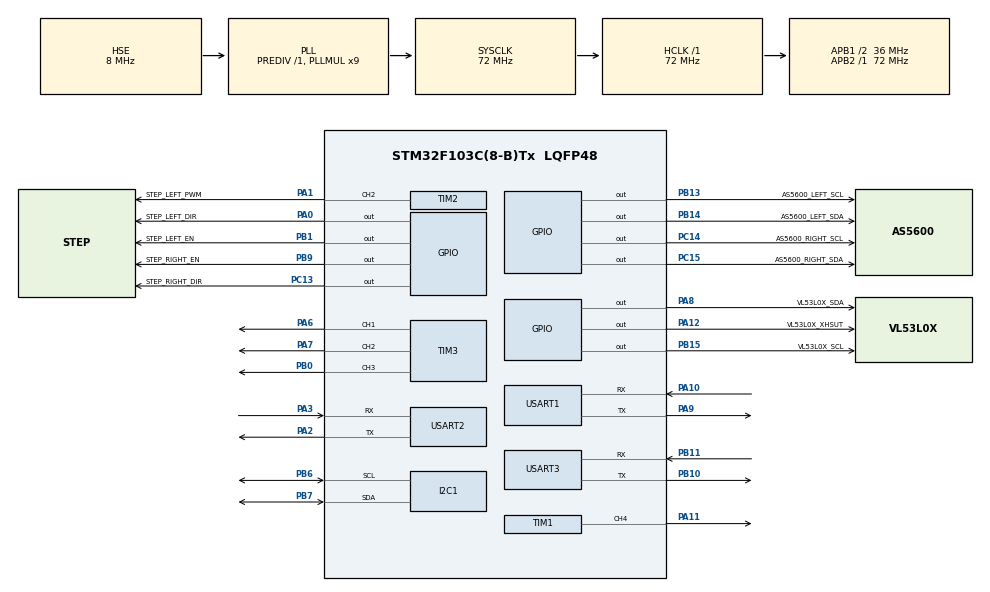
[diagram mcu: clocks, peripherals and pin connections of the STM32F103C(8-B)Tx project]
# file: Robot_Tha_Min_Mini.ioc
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Dma.Request0=USART3_TX
Dma.USART3_TX.0.Direction=DMA_MEMORY_TO_PERIPH
Dma.USART3_TX.0.Instance=DMA1_Channel2
Dma.USART3_TX.0.MemDataAlignment=DMA_MDATAALIGN_BYTE
Dma.USART3_TX.0.MemInc=DMA_MINC_ENABLE
Dma.USART3_TX.0.Mode=DMA_NORMAL
Dma.USART3_TX.0.PeriphDataAlignment=DMA_PDATAALIGN_BYTE
Dma.USART3_TX.0.PeriphInc=DMA_PINC_DISABLE
Dma.USART3_TX.0.Priority=DMA_PRIORITY_LOW
Mcu.Family=STM32F1
Mcu.Name=STM32F103C(8-B)Tx
Mcu.Package=LQFP48
NVIC.DMA1_Channel2_IRQn=true\:2\:0\:true\:false\:true\:false\:true\:true
NVIC.PriorityGroup=NVIC_PRIORITYGROUP_4
NVIC.TIM4_IRQn=true\:3\:0\:true\:false\:true\:true\:true\:true
NVIC.USART3_IRQn=true\:1\:0\:true\:false\:true\:true\:true\:true
PA0-WKUP.GPIO_Label=STEP_LEFT_DIR
PA0-WKUP.Signal=GPIO_Output
PA1.GPIO_Label=STEP_LEFT_PWM
PA1.Signal=S_TIM2_CH2
PA10.Mode=Asynchronous
PA10.Signal=USART1_RX
PA11.Signal=S_TIM1_CH4
PA12.GPIO_Label=VL53L0X_XHSUT
PA12.Signal=GPIO_Output
PA13.Mode=Serial_Wire
PA13.Signal=SYS_JTMS-SWDIO
PA14.Mode=Serial_Wire
PA14.Signal=SYS_JTCK-SWCLK
PA2.Mode=Asynchronous
PA2.Signal=USART2_TX
PA3.Mode=Asynchronous
PA3.Signal=USART2_RX
PA6.Signal=S_TIM3_CH1
PA7.Signal=S_TIM3_CH2
PA8.GPIO_Label=VL53L0X_SDA
PA8.GPIO_ModeDefaultOutputPP=GPIO_MODE_OUTPUT_OD
PA8.GPIO_PuPd=GPIO_PULLUP
PA8.GPIO_Speed=GPIO_SPEED_FREQ_HIGH
PA8.PinState=GPIO_PIN_RESET
PA8.Signal=GPIO_Output
PA9.Mode=Asynchronous
PA9.Signal=USART1_TX
PB0.Signal=S_TIM3_CH3
PB1.GPIO_Label=STEP_LEFT_EN
PB1.Signal=GPIO_Output
PB10.Mode=Asynchronous
PB10.Signal=USART3_TX
PB11.Mode=Asynchronous
PB11.Signal=USART3_RX
PB13.GPIO_Label=AS5600_LEFT_SCL
PB13.GPIO_ModeDefaultOutputPP=GPIO_MODE_OUTPUT_OD
PB13.GPIO_PuPd=GPIO_PULLUP
PB13.GPIO_Speed=GPIO_SPEED_FREQ_HIGH
PB13.PinState=GPIO_PIN_RESET
PB13.Signal=GPIO_Output
PB14.GPIO_Label=AS5600_LEFT_SDA
PB14.GPIO_ModeDefaultOutputPP=GPIO_MODE_OUTPUT_OD
PB14.GPIO_PuPd=GPIO_PULLUP
PB14.GPIO_Speed=GPIO_SPEED_FREQ_HIGH
PB14.PinState=GPIO_PIN_RESET
PB14.Signal=GPIO_Output
PB15.GPIO_Label=VL53L0X_SCL
PB15.GPIO_ModeDefaultOutputPP=GPIO_MODE_OUTPUT_OD
PB15.GPIO_PuPd=GPIO_PULLUP
PB15.GPIO_Speed=GPIO_SPEED_FREQ_HIGH
PB15.PinState=GPIO_PIN_RESET
PB15.Signal=GPIO_Output
PB6.Mode=I2C
PB6.Signal=I2C1_SCL
PB7.Mode=I2C
PB7.Signal=I2C1_SDA
PB9.GPIO_Label=STEP_RIGHT_EN
PB9.Signal=GPIO_Output
PC13-TAMPER-RTC.GPIO_Label=STEP_RIGHT_DIR
PC13-TAMPER-RTC.Signal=GPIO_Output
PC14-OSC32_IN.GPIO_Label=AS5600_RIGHT_SCL
PC14-OSC32_IN.GPIO_ModeDefaultOutputPP=GPIO_MODE_OUTPUT_OD
PC14-OSC32_IN.GPIO_PuPd=GPIO_PULLUP
PC14-OSC32_IN.GPIO_Speed=GPIO_SPEED_FREQ_HIGH
PC14-OSC32_IN.PinState=GPIO_PIN_RESET
PC14-OSC32_IN.Signal=GPIO_Output
PC15-OSC32_OUT.GPIO_Label=AS5600_RIGHT_SDA
PC15-OSC32_OUT.GPIO_ModeDefaultOutputPP=GPIO_MODE_OUTPUT_OD
PC15-OSC32_OUT.GPIO_PuPd=GPIO_PULLUP
PC15-OSC32_OUT.GPIO_Speed=GPIO_SPEED_FREQ_HIGH
PC15-OSC32_OUT.PinState=GPIO_PIN_RESET
PC15-OSC32_OUT.Signal=GPIO_Output
PD0-OSC_IN.Mode=HSE-External-Oscillator
PD0-OSC_IN.Signal=RCC_OSC_IN
PD1-OSC_OUT.Mode=HSE-External-Oscillator
PD1-OSC_OUT.Signal=RCC_OSC_OUT
ProjectManager.HeapSize=0x200
ProjectManager.StackSize=0x400
ProjectManager.TargetToolchain=MDK-ARM V5.32
RCC.ADCPresc=RCC_ADCPCLK2_DIV6
RCC.AHBFreq_Value=72000000
RCC.APB1CLKDivider=RCC_HCLK_DIV2
RCC.APB1Freq_Value=36000000
RCC.APB1TimFreq_Value=72000000
RCC.APB2Freq_Value=72000000
RCC.APB2TimFreq_Value=72000000
RCC.HCLKFreq_Value=72000000
RCC.PLLMUL=RCC_PLL_MUL9
RCC.PLLSourceVirtual=RCC_PLLSOURCE_HSE
RCC.SYSCLKFreq_VALUE=72000000
RCC.SYSCLKSource=RCC_SYSCLKSOURCE_PLLCLK
RCC.USBFreq_Value=72000000
SH.S_TIM1_CH4.0=TIM1_CH4,PWM Generation4 CH4
SH.S_TIM2_CH2.0=TIM2_CH2,PWM Generation2 CH2
SH.S_TIM3_CH1.0=TIM3_CH1,PWM Generation1 CH1
SH.S_TIM3_CH2.0=TIM3_CH2,PWM Generation2 CH2
SH.S_TIM3_CH3.0=TIM3_CH3,PWM Generation3 CH3
TIM1.AutoReloadPreload=TIM_AUTORELOAD_PRELOAD_ENABLE
TIM1.Channel-PWM\ Generation4\ CH4=TIM_CHANNEL_4
TIM1.Period=65535
TIM1.Prescaler=0
TIM2.AutoReloadPreload=TIM_AUTORELOAD_PRELOAD_ENABLE
TIM2.Channel-PWM\ Generation2\ CH2=TIM_CHANNEL_2
TIM3.Channel-PWM\ Generation1\ CH1=TIM_CHANNEL_1
TIM3.Channel-PWM\ Generation2\ CH2=TIM_CHANNEL_2
TIM3.Channel-PWM\ Generation3\ CH3=TIM_CHANNEL_3
TIM4.Period=499
TIM4.Prescaler=7199
USART1.VirtualMode=VM_ASYNC
USART2.VirtualMode=VM_ASYNC
USART3.VirtualMode=VM_ASYNC
VP_TIM4_VS_ClockSourceINT.Mode=Internal
board=custom

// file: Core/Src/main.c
/* USER CODE BEGIN Header */
/**
  ******************************************************************************
  * @file           : main.c
  * @brief          : Main program body
  ******************************************************************************
  * @attention
  *
  * Copyright (c) 2026 STMicroelectronics.
  * All rights reserved.
  *
  * This software is licensed under terms that can be found in the LICENSE file
  * in the root directory of this software component.
  * If no LICENSE file comes with this software, it is provided AS-IS.
  *
  ******************************************************************************
  */
/* USER CODE END Header */
#include "main.h"

/* USER CODE BEGIN Includes */
#include "distance_sensor.h"
#include "imu.h"
#include "robot.h"
#include "uart.h"
#include <stdarg.h>
#include <stdio.h>
#include <string.h>
#include "Servo.h"
#include "mpu6050.h"
/* USER CODE END Includes */

/* USER CODE BEGIN PD */
#define BUFFER_MESSAGE_SIZE 256
#define SIZE_MINE 3.6
#define NUM_MAX_MINE 4
/* USER CODE END PD */

I2C_HandleTypeDef hi2c1;

TIM_HandleTypeDef htim1;
TIM_HandleTypeDef htim2;
TIM_HandleTypeDef htim3;
TIM_HandleTypeDef htim4;

UART_HandleTypeDef huart1;
UART_HandleTypeDef huart2;
UART_HandleTypeDef huart3;
DMA_HandleTypeDef hdma_usart3_tx;

/* USER CODE BEGIN PV */
VL53L0X_TypeDef sensor;
Soft_I2C_TypeDef i2c;
IMU_Typedef bno055;
Robot_Typedef robot;
Servo_TypeDef servo_land_mine;
Servo_TypeDef servo_tank_mine_push;
Servo_TypeDef servo_tank_mine_left_door;
Servo_TypeDef servo_tank_mine_right_door;
MPU6050_t mpu;
/* USER CODE END PV */

void SystemClock_Config(void);
static void MX_GPIO_Init(void);
static void MX_DMA_Init(void);
static void MX_I2C1_Init(void);
static void MX_TIM2_Init(void);
static void MX_TIM3_Init(void);
static void MX_USART1_UART_Init(void);
static void MX_USART2_UART_Init(void);
static void MX_USART3_UART_Init(void);
static void MX_TIM4_Init(void);
static void MX_TIM1_Init(void);

/* USER CODE BEGIN 0 */
uint8_t error = 0;
float distance = 0;
uint8_t num_mine = 0;
uint8_t data_rx = 0;
uint8_t flag_mine_laying = 0;
Mine_Type type = LAND_MINE;

char buffer[BUFFER_MESSAGE_SIZE];

HAL_StatusTypeDef transmit(const char *format, ...){
	va_list args;
	va_start(args, format);
	vsnprintf(buffer, BUFFER_MESSAGE_SIZE, format, args);
	va_end(args);
	return HAL_UART_Transmit_DMA(&huart3, (uint8_t *)buffer, strlen(buffer));
}

void HAL_TIM_PeriodElapsedCallback(TIM_HandleTypeDef* htim){
	if(htim->Instance == htim4.Instance){
		robot.motorLeft->velocity = 0;
		robot.motorRight->velocity = 0;
		transmit("%.2f %.2f %.2f %d\n", robot.motorLeft->velocity, robot.motorRight->velocity, 0.0f, num_mine);
	}
}

void HAL_UART_RxCpltCallback(UART_HandleTypeDef* huart){
	if(huart->Instance == huart3.Instance){
		uart_receive_data(data_rx);
		uart_handle(&robot, &flag_mine_laying, &type);
		HAL_UART_Receive_IT(huart, &data_rx, 1);
	}
}

/* USER CODE END 0 */

int main(void)
{

  /* MCU Configuration--------------------------------------------------------*/

  /* Reset of all peripherals, Initializes the Flash interface and the Systick. */
  HAL_Init();

  /* Configure the system clock */
  SystemClock_Config();

  /* Initialize all configured peripherals */
  MX_GPIO_Init();
  MX_DMA_Init();
  MX_I2C1_Init();
  MX_TIM2_Init();
  MX_TIM3_Init();
  MX_USART1_UART_Init();
  MX_USART2_UART_Init();
  MX_USART3_UART_Init();
  MX_TIM4_Init();
  MX_TIM1_Init();
  /* USER CODE BEGIN 2 */
	if(Robot_Init(&robot, &huart2, &htim2, TIM_CHANNEL_2, &huart3, &htim1, TIM_CHANNEL_4) != HAL_OK){
		transmit("Robot Init Fail");
		error = 5;
		Error_Handler();
	}

//	if(MPU6050_Init(&mpu, &hi2c1) != MPU6050_OK){
//		error = 1;
//		transmit("IMU Init Fail");
//		Error_Handler();
//	}
//
//	if(MPU6050_Read_All_Fast(&mpu) != MPU6050_OK){
//		error = 2;
//		transmit("IMU Get Data Fail");
//		Error_Handler();
//	}
//
//	if(IMU_Init(&bno055, &hi2c1, IMU_ADDRESS) != IMU_OK){
//		transmit("IMU Init Fail!!");
//		error = 1;
//		Error_Handler();
//	}
//
//	if(IMU_CheckCalib(&bno055) != CALIB_OK){
//		transmit("IMU Check Calib Fail!!!");
//		error = 2;
//		Error_Handler();
//	}
//
//	if(IMU_GetDataRaw(&bno055) != IMU_OK){
//		transmit("IMU Check Get Data Fail!!!");
//		error = 3;
//		Error_Handler();
//	}

	i2c_soft_init(&i2c, VL53L0X_SCL_GPIO_Port, VL53L0X_SCL_Pin, VL53L0X_SDA_GPIO_Port, VL53L0X_SDA_Pin);
	if(!vl53l0x_init(&sensor, &i2c, VL53L0X_XHSUT_GPIO_Port, VL53L0X_XHSUT_Pin, RIGHT, -40)){
		transmit("Distance Sensor Init Fail!!");
		error = 4;
		Error_Handler();
	}

	Servo_Init(&servo_tank_mine_push, &htim3, TIM_CHANNEL_1, IDLE_POSITION_ANGLE_TYPE_TANK_MINE);
	Servo_Init(&servo_tank_mine_left_door, &htim3, TIM_CHANNEL_2, CLOSE_DOOR_POSITION_ANGLE_TYPE_TANK_MINE);
	Servo_Init(&servo_tank_mine_right_door, &htim3, TIM_CHANNEL_3, CLOSE_DOOR_POSITION_ANGLE_TYPE_TANK_MINE);

	HAL_TIM_Base_Start_IT(&htim4);
	HAL_UART_Receive_IT(&huart3, &data_rx, 1);
  /* USER CODE END 2 */

  /* Infinite loop */
  /* USER CODE BEGIN WHILE */
  while (1)
  {
	  Calculate_Velocity(&robot);
	  if(!vl53l0x_read_range_single(&sensor)){
		  error = 6;
		  transmit("Distance Sensor Error");
		  Error_Handler();
	  }
	  int8_t temp = NUM_MAX_MINE - (int16_t)(sensor.distance_cm / SIZE_MINE);
	  num_mine = (temp > 0) ? temp : 0;
    /* USER CODE END WHILE */

  }
}

void SystemClock_Config(void)
{
  RCC_OscInitTypeDef RCC_OscInitStruct = {0};
  RCC_ClkInitTypeDef RCC_ClkInitStruct = {0};

  /** Initializes the RCC Oscillators according to the specified parameters
  * in the RCC_OscInitTypeDef structure.
  */
  RCC_OscInitStruct.OscillatorType = RCC_OSCILLATORTYPE_HSE;
  RCC_OscInitStruct.HSEState = RCC_HSE_ON;
  RCC_OscInitStruct.HSEPredivValue = RCC_HSE_PREDIV_DIV1;
  RCC_OscInitStruct.HSIState = RCC_HSI_ON;
  RCC_OscInitStruct.PLL.PLLState = RCC_PLL_ON;
  RCC_OscInitStruct.PLL.PLLSource = RCC_PLLSOURCE_HSE;
  RCC_OscInitStruct.PLL.PLLMUL = RCC_PLL_MUL9;
  if (HAL_RCC_OscConfig(&RCC_OscInitStruct) != HAL_OK)
  {
    Error_Handler();
  }

  /** Initializes the CPU, AHB and APB buses clocks
  */
  RCC_ClkInitStruct.ClockType = RCC_CLOCKTYPE_HCLK|RCC_CLOCKTYPE_SYSCLK
                              |RCC_CLOCKTYPE_PCLK1|RCC_CLOCKTYPE_PCLK2;
  RCC_ClkInitStruct.SYSCLKSource = RCC_SYSCLKSOURCE_PLLCLK;
  RCC_ClkInitStruct.AHBCLKDivider = RCC_SYSCLK_DIV1;
  RCC_ClkInitStruct.APB1CLKDivider = RCC_HCLK_DIV2;
  RCC_ClkInitStruct.APB2CLKDivider = RCC_HCLK_DIV1;

  if (HAL_RCC_ClockConfig(&RCC_ClkInitStruct, FLASH_LATENCY_2) != HAL_OK)
  {
    Error_Handler();
  }
}

static void MX_I2C1_Init(void)
{

  hi2c1.Instance = I2C1;
  hi2c1.Init.ClockSpeed = 100000;
  hi2c1.Init.DutyCycle = I2C_DUTYCYCLE_2;
  hi2c1.Init.OwnAddress1 = 0;
  hi2c1.Init.AddressingMode = I2C_ADDRESSINGMODE_7BIT;
  hi2c1.Init.DualAddressMode = I2C_DUALADDRESS_DISABLE;
  hi2c1.Init.OwnAddress2 = 0;
  hi2c1.Init.GeneralCallMode = I2C_GENERALCALL_DISABLE;
  hi2c1.Init.NoStretchMode = I2C_NOSTRETCH_DISABLE;
  if (HAL_I2C_Init(&hi2c1) != HAL_OK)
  {
    Error_Handler();
  }

}

static void MX_TIM1_Init(void)
{

  TIM_MasterConfigTypeDef sMasterConfig = {0};
  TIM_OC_InitTypeDef sConfigOC = {0};
  TIM_BreakDeadTimeConfigTypeDef sBreakDeadTimeConfig = {0};

  htim1.Instance = TIM1;
  htim1.Init.Prescaler = 0;
  htim1.Init.CounterMode = TIM_COUNTERMODE_UP;
  htim1.Init.Period = 65535;
  htim1.Init.ClockDivision = TIM_CLOCKDIVISION_DIV1;
  htim1.Init.RepetitionCounter = 0;
  htim1.Init.AutoReloadPreload = TIM_AUTORELOAD_PRELOAD_ENABLE;
  if (HAL_TIM_PWM_Init(&htim1) != HAL_OK)
  {
    Error_Handler();
  }
  sMasterConfig.MasterOutputTrigger = TIM_TRGO_RESET;
  sMasterConfig.MasterSlaveMode = TIM_MASTERSLAVEMODE_DISABLE;
  if (HAL_TIMEx_MasterConfigSynchronization(&htim1, &sMasterConfig) != HAL_OK)
  {
    Error_Handler();
  }
  sConfigOC.OCMode = TIM_OCMODE_PWM1;
  sConfigOC.Pulse = 0;
  sConfigOC.OCPolarity = TIM_OCPOLARITY_HIGH;
  sConfigOC.OCFastMode = TIM_OCFAST_DISABLE;
  sConfigOC.OCIdleState = TIM_OCIDLESTATE_RESET;
  sConfigOC.OCNIdleState = TIM_OCNIDLESTATE_RESET;
  if (HAL_TIM_PWM_ConfigChannel(&htim1, &sConfigOC, TIM_CHANNEL_4) != HAL_OK)
  {
    Error_Handler();
  }
  sBreakDeadTimeConfig.OffStateRunMode = TIM_OSSR_DISABLE;
  sBreakDeadTimeConfig.OffStateIDLEMode = TIM_OSSI_DISABLE;
  sBreakDeadTimeConfig.LockLevel = TIM_LOCKLEVEL_OFF;
  sBreakDeadTimeConfig.DeadTime = 0;
  sBreakDeadTimeConfig.BreakState = TIM_BREAK_DISABLE;
  sBreakDeadTimeConfig.BreakPolarity = TIM_BREAKPOLARITY_HIGH;
  sBreakDeadTimeConfig.AutomaticOutput = TIM_AUTOMATICOUTPUT_DISABLE;
  if (HAL_TIMEx_ConfigBreakDeadTime(&htim1, &sBreakDeadTimeConfig) != HAL_OK)
  {
    Error_Handler();
  }
  HAL_TIM_MspPostInit(&htim1);

}

static void MX_TIM2_Init(void)
{

  TIM_MasterConfigTypeDef sMasterConfig = {0};
  TIM_OC_InitTypeDef sConfigOC = {0};

  htim2.Instance = TIM2;
  htim2.Init.Prescaler = 0;
  htim2.Init.CounterMode = TIM_COUNTERMODE_UP;
  htim2.Init.Period = 65535;
  htim2.Init.ClockDivision = TIM_CLOCKDIVISION_DIV1;
  htim2.Init.AutoReloadPreload = TIM_AUTORELOAD_PRELOAD_ENABLE;
  if (HAL_TIM_PWM_Init(&htim2) != HAL_OK)
  {
    Error_Handler();
  }
  sMasterConfig.MasterOutputTrigger = TIM_TRGO_RESET;
  sMasterConfig.MasterSlaveMode = TIM_MASTERSLAVEMODE_DISABLE;
  if (HAL_TIMEx_MasterConfigSynchronization(&htim2, &sMasterConfig) != HAL_OK)
  {
    Error_Handler();
  }
  sConfigOC.OCMode = TIM_OCMODE_PWM1;
  sConfigOC.Pulse = 0;
  sConfigOC.OCPolarity = TIM_OCPOLARITY_HIGH;
  sConfigOC.OCFastMode = TIM_OCFAST_DISABLE;
  if (HAL_TIM_PWM_ConfigChannel(&htim2, &sConfigOC, TIM_CHANNEL_2) != HAL_OK)
  {
    Error_Handler();
  }
  HAL_TIM_MspPostInit(&htim2);

}

static void MX_TIM3_Init(void)
{

  TIM_MasterConfigTypeDef sMasterConfig = {0};
  TIM_OC_InitTypeDef sConfigOC = {0};

  htim3.Instance = TIM3;
  htim3.Init.Prescaler = 0;
  htim3.Init.CounterMode = TIM_COUNTERMODE_UP;
  htim3.Init.Period = 65535;
  htim3.Init.ClockDivision = TIM_CLOCKDIVISION_DIV1;
  htim3.Init.AutoReloadPreload = TIM_AUTORELOAD_PRELOAD_DISABLE;
  if (HAL_TIM_PWM_Init(&htim3) != HAL_OK)
  {
    Error_Handler();
  }
  sMasterConfig.MasterOutputTrigger = TIM_TRGO_RESET;
  sMasterConfig.MasterSlaveMode = TIM_MASTERSLAVEMODE_DISABLE;
  if (HAL_TIMEx_MasterConfigSynchronization(&htim3, &sMasterConfig) != HAL_OK)
  {
    Error_Handler();
  }
  sConfigOC.OCMode = TIM_OCMODE_PWM1;
  sConfigOC.Pulse = 0;
  sConfigOC.OCPolarity = TIM_OCPOLARITY_HIGH;
  sConfigOC.OCFastMode = TIM_OCFAST_DISABLE;
  if (HAL_TIM_PWM_ConfigChannel(&htim3, &sConfigOC, TIM_CHANNEL_1) != HAL_OK)
  {
    Error_Handler();
  }
  if (HAL_TIM_PWM_ConfigChannel(&htim3, &sConfigOC, TIM_CHANNEL_2) != HAL_OK)
  {
    Error_Handler();
  }
  if (HAL_TIM_PWM_ConfigChannel(&htim3, &sConfigOC, TIM_CHANNEL_3) != HAL_OK)
  {
    Error_Handler();
  }
  HAL_TIM_MspPostInit(&htim3);

}

static void MX_TIM4_Init(void)
{

  TIM_ClockConfigTypeDef sClockSourceConfig = {0};
  TIM_MasterConfigTypeDef sMasterConfig = {0};

  htim4.Instance = TIM4;
  htim4.Init.Prescaler = 7199;
  htim4.Init.CounterMode = TIM_COUNTERMODE_UP;
  htim4.Init.Period = 499;
  htim4.Init.ClockDivision = TIM_CLOCKDIVISION_DIV1;
  htim4.Init.AutoReloadPreload = TIM_AUTORELOAD_PRELOAD_DISABLE;
  if (HAL_TIM_Base_Init(&htim4) != HAL_OK)
  {
    Error_Handler();
  }
  sClockSourceConfig.ClockSource = TIM_CLOCKSOURCE_INTERNAL;
  if (HAL_TIM_ConfigClockSource(&htim4, &sClockSourceConfig) != HAL_OK)
  {
    Error_Handler();
  }
  sMasterConfig.MasterOutputTrigger = TIM_TRGO_RESET;
  sMasterConfig.MasterSlaveMode = TIM_MASTERSLAVEMODE_DISABLE;
  if (HAL_TIMEx_MasterConfigSynchronization(&htim4, &sMasterConfig) != HAL_OK)
  {
    Error_Handler();
  }

}

static void MX_USART1_UART_Init(void)
{

  huart1.Instance = USART1;
  huart1.Init.BaudRate = 115200;
  huart1.Init.WordLength = UART_WORDLENGTH_8B;
  huart1.Init.StopBits = UART_STOPBITS_1;
  huart1.Init.Parity = UART_PARITY_NONE;
  huart1.Init.Mode = UART_MODE_TX_RX;
  huart1.Init.HwFlowCtl = UART_HWCONTROL_NONE;
  huart1.Init.OverSampling = UART_OVERSAMPLING_16;
  if (HAL_UART_Init(&huart1) != HAL_OK)
  {
    Error_Handler();
  }

}

static void MX_USART2_UART_Init(void)
{

  huart2.Instance = USART2;
  huart2.Init.BaudRate = 115200;
  huart2.Init.WordLength = UART_WORDLENGTH_8B;
  huart2.Init.StopBits = UART_STOPBITS_1;
  huart2.Init.Parity = UART_PARITY_NONE;
  huart2.Init.Mode = UART_MODE_TX_RX;
  huart2.Init.HwFlowCtl = UART_HWCONTROL_NONE;
  huart2.Init.OverSampling = UART_OVERSAMPLING_16;
  if (HAL_UART_Init(&huart2) != HAL_OK)
  {
    Error_Handler();
  }

}

static void MX_USART3_UART_Init(void)
{

  huart3.Instance = USART3;
  huart3.Init.BaudRate = 115200;
  huart3.Init.WordLength = UART_WORDLENGTH_8B;
  huart3.Init.StopBits = UART_STOPBITS_1;
  huart3.Init.Parity = UART_PARITY_NONE;
  huart3.Init.Mode = UART_MODE_TX_RX;
  huart3.Init.HwFlowCtl = UART_HWCONTROL_NONE;
  huart3.Init.OverSampling = UART_OVERSAMPLING_16;
  if (HAL_UART_Init(&huart3) != HAL_OK)
  {
    Error_Handler();
  }

}

static void MX_DMA_Init(void)
{

  /* DMA controller clock enable */
  __HAL_RCC_DMA1_CLK_ENABLE();

  /* DMA interrupt init */
  /* DMA1_Channel2_IRQn interrupt configuration */
  HAL_NVIC_SetPriority(DMA1_Channel2_IRQn, 2, 0);
  HAL_NVIC_EnableIRQ(DMA1_Channel2_IRQn);

}

static void MX_GPIO_Init(void)
{
  GPIO_InitTypeDef GPIO_InitStruct = {0};

  /* GPIO Ports Clock Enable */
  __HAL_RCC_GPIOC_CLK_ENABLE();
  __HAL_RCC_GPIOD_CLK_ENABLE();
  __HAL_RCC_GPIOA_CLK_ENABLE();
  __HAL_RCC_GPIOB_CLK_ENABLE();

  /*Configure GPIO pin Output Level */
  HAL_GPIO_WritePin(GPIOC, STEP_RIGHT_DIR_Pin|AS5600_RIGHT_SCL_Pin|AS5600_RIGHT_SDA_Pin, GPIO_PIN_RESET);

  /*Configure GPIO pin Output Level */
  HAL_GPIO_WritePin(GPIOA, STEP_LEFT_DIR_Pin|VL53L0X_SDA_Pin|VL53L0X_XHSUT_Pin, GPIO_PIN_RESET);

  /*Configure GPIO pin Output Level */
  HAL_GPIO_WritePin(GPIOB, STEP_LEFT_EN_Pin|AS5600_LEFT_SCL_Pin|AS5600_LEFT_SDA_Pin|VL53L0X_SCL_Pin
                          |STEP_RIGHT_EN_Pin, GPIO_PIN_RESET);

  /*Configure GPIO pin : STEP_RIGHT_DIR_Pin */
  GPIO_InitStruct.Pin = STEP_RIGHT_DIR_Pin;
  GPIO_InitStruct.Mode = GPIO_MODE_OUTPUT_PP;
  GPIO_InitStruct.Pull = GPIO_NOPULL;
  GPIO_InitStruct.Speed = GPIO_SPEED_FREQ_LOW;
  HAL_GPIO_Init(STEP_RIGHT_DIR_GPIO_Port, &GPIO_InitStruct);

  /*Configure GPIO pins : AS5600_RIGHT_SCL_Pin AS5600_RIGHT_SDA_Pin */
  GPIO_InitStruct.Pin = AS5600_RIGHT_SCL_Pin|AS5600_RIGHT_SDA_Pin;
  GPIO_InitStruct.Mode = GPIO_MODE_OUTPUT_OD;
  GPIO_InitStruct.Pull = GPIO_PULLUP;
  GPIO_InitStruct.Speed = GPIO_SPEED_FREQ_HIGH;
  HAL_GPIO_Init(GPIOC, &GPIO_InitStruct);

  /*Configure GPIO pins : STEP_LEFT_DIR_Pin VL53L0X_XHSUT_Pin */
  GPIO_InitStruct.Pin = STEP_LEFT_DIR_Pin|VL53L0X_XHSUT_Pin;
  GPIO_InitStruct.Mode = GPIO_MODE_OUTPUT_PP;
  GPIO_InitStruct.Pull = GPIO_NOPULL;
  GPIO_InitStruct.Speed = GPIO_SPEED_FREQ_LOW;
  HAL_GPIO_Init(GPIOA, &GPIO_InitStruct);

  /*Configure GPIO pins : STEP_LEFT_EN_Pin STEP_RIGHT_EN_Pin */
  GPIO_InitStruct.Pin = STEP_LEFT_EN_Pin|STEP_RIGHT_EN_Pin;
  GPIO_InitStruct.Mode = GPIO_MODE_OUTPUT_PP;
  GPIO_InitStruct.Pull = GPIO_NOPULL;
  GPIO_InitStruct.Speed = GPIO_SPEED_FREQ_LOW;
  HAL_GPIO_Init(GPIOB, &GPIO_InitStruct);

  /*Configure GPIO pins : AS5600_LEFT_SCL_Pin AS5600_LEFT_SDA_Pin VL53L0X_SCL_Pin */
  GPIO_InitStruct.Pin = AS5600_LEFT_SCL_Pin|AS5600_LEFT_SDA_Pin|VL53L0X_SCL_Pin;
  GPIO_InitStruct.Mode = GPIO_MODE_OUTPUT_OD;
  GPIO_InitStruct.Pull = GPIO_PULLUP;
  GPIO_InitStruct.Speed = GPIO_SPEED_FREQ_HIGH;
  HAL_GPIO_Init(GPIOB, &GPIO_InitStruct);

  /*Configure GPIO pin : VL53L0X_SDA_Pin */
  GPIO_InitStruct.Pin = VL53L0X_SDA_Pin;
  GPIO_InitStruct.Mode = GPIO_MODE_OUTPUT_OD;
  GPIO_InitStruct.Pull = GPIO_PULLUP;
  GPIO_InitStruct.Speed = GPIO_SPEED_FREQ_HIGH;
  HAL_GPIO_Init(VL53L0X_SDA_GPIO_Port, &GPIO_InitStruct);

}

void Error_Handler(void)
{
  __disable_irq();
  while (1)
  {
  }
}
